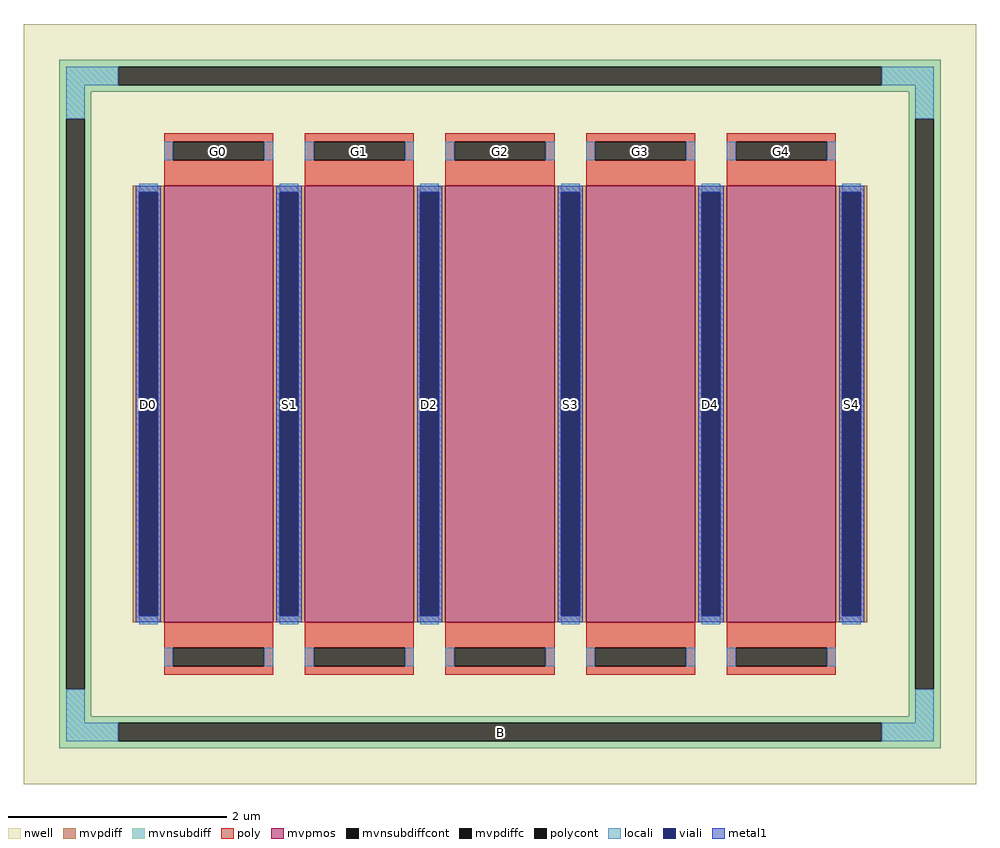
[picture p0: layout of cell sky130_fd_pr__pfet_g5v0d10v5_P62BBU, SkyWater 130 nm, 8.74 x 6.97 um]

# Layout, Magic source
magic
tech sky130A
magscale 1 2
<< nwell >>
rect -874 -697 874 697
<< mvpmos >>
rect -616 -400 -416 400
rect -358 -400 -158 400
rect -100 -400 100 400
rect 158 -400 358 400
rect 416 -400 616 400
<< mvpdiff >>
rect -674 388 -616 400
rect -674 -388 -662 388
rect -628 -388 -616 388
rect -674 -400 -616 -388
rect -416 388 -358 400
rect -416 -388 -404 388
rect -370 -388 -358 388
rect -416 -400 -358 -388
rect -158 388 -100 400
rect -158 -388 -146 388
rect -112 -388 -100 388
rect -158 -400 -100 -388
rect 100 388 158 400
rect 100 -388 112 388
rect 146 -388 158 388
rect 100 -400 158 -388
rect 358 388 416 400
rect 358 -388 370 388
rect 404 -388 416 388
rect 358 -400 416 -388
rect 616 388 674 400
rect 616 -388 628 388
rect 662 -388 674 388
rect 616 -400 674 -388
<< mvpdiffc >>
rect -662 -388 -628 388
rect -404 -388 -370 388
rect -146 -388 -112 388
rect 112 -388 146 388
rect 370 -388 404 388
rect 628 -388 662 388
<< mvnsubdiff >>
rect -808 619 808 631
rect -808 585 -700 619
rect 700 585 808 619
rect -808 573 808 585
rect -808 523 -750 573
rect -808 -523 -796 523
rect -762 -523 -750 523
rect 750 523 808 573
rect -808 -573 -750 -523
rect 750 -523 762 523
rect 796 -523 808 523
rect 750 -573 808 -523
rect -808 -585 808 -573
rect -808 -619 -700 -585
rect 700 -619 808 -585
rect -808 -631 808 -619
<< mvnsubdiffcont >>
rect -700 585 700 619
rect -796 -523 -762 523
rect 762 -523 796 523
rect -700 -619 700 -585
<< poly >>
rect -616 481 -416 497
rect -616 447 -600 481
rect -432 447 -416 481
rect -616 400 -416 447
rect -358 481 -158 497
rect -358 447 -342 481
rect -174 447 -158 481
rect -358 400 -158 447
rect -100 481 100 497
rect -100 447 -84 481
rect 84 447 100 481
rect -100 400 100 447
rect 158 481 358 497
rect 158 447 174 481
rect 342 447 358 481
rect 158 400 358 447
rect 416 481 616 497
rect 416 447 432 481
rect 600 447 616 481
rect 416 400 616 447
rect -616 -447 -416 -400
rect -616 -481 -600 -447
rect -432 -481 -416 -447
rect -616 -497 -416 -481
rect -358 -447 -158 -400
rect -358 -481 -342 -447
rect -174 -481 -158 -447
rect -358 -497 -158 -481
rect -100 -447 100 -400
rect -100 -481 -84 -447
rect 84 -481 100 -447
rect -100 -497 100 -481
rect 158 -447 358 -400
rect 158 -481 174 -447
rect 342 -481 358 -447
rect 158 -497 358 -481
rect 416 -447 616 -400
rect 416 -481 432 -447
rect 600 -481 616 -447
rect 416 -497 616 -481
<< polycont >>
rect -600 447 -432 481
rect -342 447 -174 481
rect -84 447 84 481
rect 174 447 342 481
rect 432 447 600 481
rect -600 -481 -432 -447
rect -342 -481 -174 -447
rect -84 -481 84 -447
rect 174 -481 342 -447
rect 432 -481 600 -447
<< locali >>
rect -796 585 -700 619
rect 700 585 796 619
rect -796 523 -762 585
rect 762 523 796 585
rect -616 447 -600 481
rect -432 447 -416 481
rect -358 447 -342 481
rect -174 447 -158 481
rect -100 447 -84 481
rect 84 447 100 481
rect 158 447 174 481
rect 342 447 358 481
rect 416 447 432 481
rect 600 447 616 481
rect -662 388 -628 404
rect -662 -404 -628 -388
rect -404 388 -370 404
rect -404 -404 -370 -388
rect -146 388 -112 404
rect -146 -404 -112 -388
rect 112 388 146 404
rect 112 -404 146 -388
rect 370 388 404 404
rect 370 -404 404 -388
rect 628 388 662 404
rect 628 -404 662 -388
rect -616 -481 -600 -447
rect -432 -481 -416 -447
rect -358 -481 -342 -447
rect -174 -481 -158 -447
rect -100 -481 -84 -447
rect 84 -481 100 -447
rect 158 -481 174 -447
rect 342 -481 358 -447
rect 416 -481 432 -447
rect 600 -481 616 -447
rect -796 -585 -762 -523
rect 762 -585 796 -523
rect -796 -619 -700 -585
rect 700 -619 796 -585
<< viali >>
rect -662 -388 -628 388
rect -404 -388 -370 388
rect -146 -388 -112 388
rect 112 -388 146 388
rect 370 -388 404 388
rect 628 -388 662 388
<< metal1 >>
rect -668 388 -622 400
rect -668 -388 -662 388
rect -628 -388 -622 388
rect -668 -400 -622 -388
rect -410 388 -364 400
rect -410 -388 -404 388
rect -370 -388 -364 388
rect -410 -400 -364 -388
rect -152 388 -106 400
rect -152 -388 -146 388
rect -112 -388 -106 388
rect -152 -400 -106 -388
rect 106 388 152 400
rect 106 -388 112 388
rect 146 -388 152 388
rect 106 -400 152 -388
rect 364 388 410 400
rect 364 -388 370 388
rect 404 -388 410 388
rect 364 -400 410 -388
rect 622 388 668 400
rect 622 -388 628 388
rect 662 -388 668 388
rect 622 -400 668 -388
<< labels >>
rlabel mvnsubdiffcont 0 -602 0 -602 0 B
port 1 nsew
rlabel mvpdiffc -645 0 -645 0 0 D0
port 2 nsew
rlabel polycont -516 464 -516 464 0 G0
port 3 nsew
rlabel mvpdiffc -387 0 -387 0 0 S1
port 4 nsew
rlabel polycont -258 464 -258 464 0 G1
port 5 nsew
rlabel mvpdiffc -129 0 -129 0 0 D2
port 6 nsew
rlabel polycont 0 464 0 464 0 G2
port 7 nsew
rlabel mvpdiffc 129 0 129 0 0 S3
port 8 nsew
rlabel polycont 258 464 258 464 0 G3
port 9 nsew
rlabel mvpdiffc 387 0 387 0 0 D4
port 10 nsew
rlabel mvpdiffc 645 0 645 0 0 S4
port 11 nsew
rlabel polycont 516 464 516 464 0 G4
port 12 nsew
<< properties >>
string FIXED_BBOX -779 -602 779 602
string gencell sky130_fd_pr__pfet_g5v0d10v5
string library sky130
string parameters w 4 l 1 m 1 nf 5 diffcov 100 polycov 100 guard 1 glc 1 grc 1 gtc 1 gbc 1 tbcov 100 rlcov 100 topc 1 botc 1 poverlap 0 doverlap 1 lmin 0.50 wmin 0.42 class mosfet compatible {sky130_fd_pr__pfet_01v8  sky130_fd_pr__pfet_01v8_lvt sky130_fd_pr__pfet_01v8_hvt  sky130_fd_pr__pfet_g5v0d10v5} full_metal 1 conn_gates 0 viasrc 100 viadrn 100 viagate 100 viagb 0 viagr 0 viagl 0 viagt 0 doports 1
<< end >>
